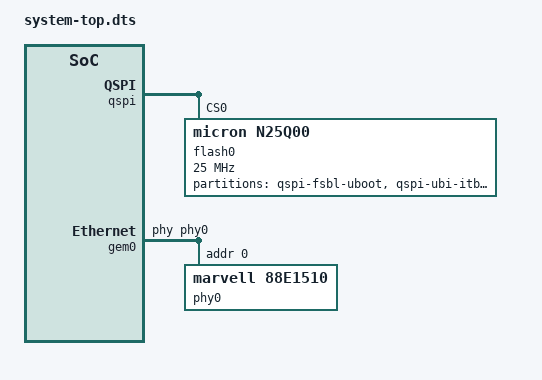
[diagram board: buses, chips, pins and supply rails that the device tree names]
/dts-v1/;
/include/ "system-conf.dtsi"
/ {

/*
 *  Old bootargs from Patrick
 */
/*
	chosen {
		bootargs = "console=ttyPS1,9600 earlyprintk";
};
*/

/*
 * 15-Dec-2020 New bootargs re email from Ricardo
 */
	chosen {
		bootargs = "bootargs=console=ttyPS1,115200 mem=512m";
};
};
/*
 * Stupid PetaLinux installer uses a flash that's not actually
 * listed in the MTD subsystem list!
*/	

&qspi {
	#address-cells = <1>;
	#size-cells = <0>;

/*
 *
 * 12-Dec-2020 DFN Modify flash partitions per Roberto's changes
*/

/* flash0: flash@0 {
		compatible = "micron,n25q00";
		reg = <0x0>;
		#address-cells = <1>;
		#size-cells = <1>;
		spi-max-frequency = <0x17d7840>;
		partition@0x00000000 {
			label = "qspi-fsbl-uboot";
			reg = <0x00000000 0x00200000>;
		};
		partition@0x00200000 {
			label = "qspi-ubi-itb";
			reg = <0x00200000 0x04000000>;
		};
		partition@0x04000000 {
			label = "qspi-ubi-auger";
			reg = <0x04000000 0x08000000>;
		};
	};
*/

flash0: flash@0 {
                 compatible = "micron,n25q00";
                 reg = <0x0>;
                 #address-cells = <0x1>;
                 #size-cells = <0x1>;
                 spi-max-frequency = <0x17d7840>;

                 partition@0x00000000 {
                     label = "qspi-fsbl-uboot";
                     reg = <0x0 0x200000>;
                 };

                 partition@0x00200000 {
                     label = "qspi-ubi-itb";
                     reg = <0x200000 0x3e00000>;
                 };

                 partition@0x04000000 {
                     label = "qspi-ubi-auger";
                     reg = <0x4000000 0x4000000>;
                 };
             };


};

&gem0 {
        phy-handle = <&phy0>;
	ps7_ethernet_0_mdio: mdio {
	  status = "disabled";
	};
	phy0: phy@0 {
	  compatible = "marvell,88e1510";
	  device_type= "ethernet-phy";
 	  reg = <0>;	  
	};

};
